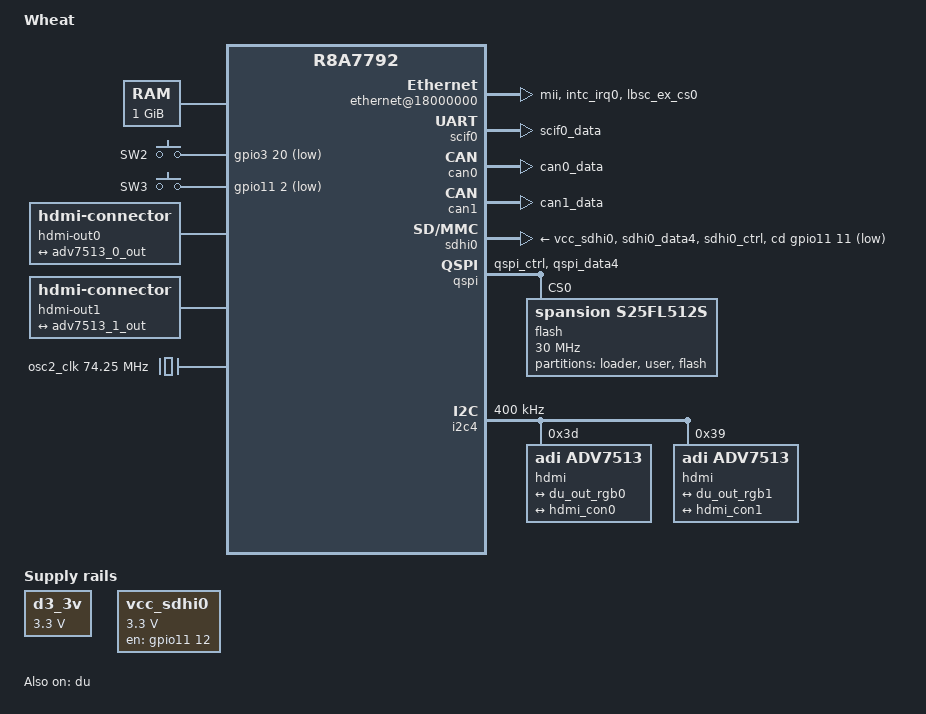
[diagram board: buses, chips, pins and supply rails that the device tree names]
/*
 * Device Tree Source for the Wheat board
 *
 * Copyright (C) 2016 Renesas Electronics Corporation
 * Copyright (C) 2016 Cogent  Embedded, Inc.
 *
 * This file is licensed under the terms of the GNU General Public License
 * version 2.  This program is licensed "as is" without any warranty of any
 * kind, whether express or implied.
 */

/dts-v1/;
#include "r8a7792.dtsi"
#include <dt-bindings/gpio/gpio.h>
#include <dt-bindings/input/input.h>

/ {
	model = "Wheat";
	compatible = "renesas,wheat", "renesas,r8a7792";

	aliases {
		serial0 = &scif0;
	};

	chosen {
		bootargs = "ignore_loglevel rw root=/dev/nfs ip=dhcp";
		stdout-path = "serial0:115200n8";
	};

	memory@40000000 {
		device_type = "memory";
		reg = <0 0x40000000 0 0x40000000>;
	};

	d3_3v: regulator-3v3 {
		compatible = "regulator-fixed";
		regulator-name = "D3.3V";
		regulator-min-microvolt = <3300000>;
		regulator-max-microvolt = <3300000>;
		regulator-boot-on;
		regulator-always-on;
	};

	ethernet@18000000 {
		compatible = "smsc,lan89218", "smsc,lan9115";
		reg = <0 0x18000000 0 0x100>;
		phy-mode = "mii";
		interrupt-parent = <&irqc>;
		interrupts = <0 IRQ_TYPE_EDGE_FALLING>;
		smsc,irq-push-pull;
		smsc,save-mac-address;
		reg-io-width = <4>;
		vddvario-supply = <&d3_3v>;
		vdd33a-supply = <&d3_3v>;

		pinctrl-0 = <&lan89218_pins>;
		pinctrl-names = "default";
	};

	keyboard {
		compatible = "gpio-keys";

		key-a {
			linux,code = <KEY_A>;
			label = "SW2";
			wakeup-source;
			debounce-interval = <20>;
			gpios = <&gpio3 20 GPIO_ACTIVE_LOW>;
		};
		key-b {
			linux,code = <KEY_B>;
			label = "SW3";
			wakeup-source;
			debounce-interval = <20>;
			gpios = <&gpio11 2 GPIO_ACTIVE_LOW>;
		};
	};

	vcc_sdhi0: regulator-vcc-sdhi0 {
		compatible = "regulator-fixed";

		regulator-name = "SDHI0 Vcc";
		regulator-min-microvolt = <3300000>;
		regulator-max-microvolt = <3300000>;

		gpio = <&gpio11 12 GPIO_ACTIVE_HIGH>;
		enable-active-high;
	};

	hdmi-out0 {
		compatible = "hdmi-connector";
		type = "a";

		port {
			hdmi_con0: endpoint {
				remote-endpoint = <&adv7513_0_out>;
			};
		};
	};

	hdmi-out1 {
		compatible = "hdmi-connector";
		type = "a";

		port {
			hdmi_con1: endpoint {
				remote-endpoint = <&adv7513_1_out>;
			};
		};
	};

	osc2_clk: osc2 {
		compatible = "fixed-clock";
		#clock-cells = <0>;
		clock-frequency = <74250000>;
	};
};

&extal_clk {
	clock-frequency = <20000000>;
};

&pfc {
	scif0_pins: scif0 {
		groups = "scif0_data";
		function = "scif0";
	};

	lan89218_pins: lan89218 {
		intc {
			groups = "intc_irq0";
			function = "intc";
		};
		lbsc {
			groups = "lbsc_ex_cs0";
			function = "lbsc";
		};
	};

	can0_pins: can0 {
		groups = "can0_data";
		function = "can0";
	};

	can1_pins: can1 {
		groups = "can1_data";
		function = "can1";
	};

	sdhi0_pins: sdhi0 {
		groups = "sdhi0_data4", "sdhi0_ctrl";
		function = "sdhi0";
	};

	qspi_pins: qspi {
		groups = "qspi_ctrl", "qspi_data4";
		function = "qspi";
	};

	du0_pins: du0 {
		groups = "du0_rgb888", "du0_sync", "du0_disp";
		function = "du0";
	};

	du1_pins: du1 {
		groups = "du1_rgb666", "du1_sync", "du1_disp";
		function = "du1";
	};
};

&scif0 {
	pinctrl-0 = <&scif0_pins>;
	pinctrl-names = "default";

	status = "okay";
};

&can0 {
	pinctrl-0 = <&can0_pins>;
	pinctrl-names = "default";

	status = "okay";
};

&can1 {
	pinctrl-0 = <&can1_pins>;
	pinctrl-names = "default";

	status = "okay";
};

&sdhi0 {
	pinctrl-0 = <&sdhi0_pins>;
	pinctrl-names = "default";

	vmmc-supply = <&vcc_sdhi0>;
	cd-gpios = <&gpio11 11 GPIO_ACTIVE_LOW>;
	status = "okay";
};

&qspi {
	pinctrl-0 = <&qspi_pins>;
	pinctrl-names = "default";
	status = "okay";

	flash@0 {
		compatible = "spansion,s25fl512s", "jedec,spi-nor";
		reg = <0>;
		spi-max-frequency = <30000000>;
		spi-tx-bus-width = <4>;
		spi-rx-bus-width = <4>;
		spi-cpol;
		spi-cpha;
		m25p,fast-read;

		partitions {
			compatible = "fixed-partitions";
			#address-cells = <1>;
			#size-cells = <1>;

			partition@0 {
				label = "loader";
				reg = <0x00000000 0x00040000>;
				read-only;
			};
			partition@40000 {
				label = "user";
				reg = <0x00040000 0x00400000>;
				read-only;
			};
			partition@440000 {
				label = "flash";
				reg = <0x00440000 0x03bc0000>;
			};
		};
	};
};

&i2c4 {
	status = "okay";
	clock-frequency = <400000>;

	hdmi@3d {
		compatible = "adi,adv7513";
		reg = <0x3d>;

		adi,input-depth = <8>;
		adi,input-colorspace = "rgb";
		adi,input-clock = "1x";
		adi,input-style = <1>;
		adi,input-justification = "evenly";

		ports {
			#address-cells = <1>;
			#size-cells = <0>;

			port@0 {
				reg = <0>;
				adv7513_0_in: endpoint {
					remote-endpoint = <&du_out_rgb0>;
				};
			};

			port@1 {
				reg = <1>;
				adv7513_0_out: endpoint {
					remote-endpoint = <&hdmi_con0>;
				};
			};
		};
	};

	hdmi@39 {
		compatible = "adi,adv7513";
		reg = <0x39>;

		adi,input-depth = <8>;
		adi,input-colorspace = "rgb";
		adi,input-clock = "1x";
		adi,input-style = <1>;
		adi,input-justification = "evenly";

		ports {
			#address-cells = <1>;
			#size-cells = <0>;

			port@0 {
				reg = <0>;
				adv7513_1_in: endpoint {
					remote-endpoint = <&du_out_rgb1>;
				};
			};

			port@1 {
				reg = <1>;
				adv7513_1_out: endpoint {
					remote-endpoint = <&hdmi_con1>;
				};
			};
		};
	};
};

&du {
	pinctrl-0 = <&du0_pins &du1_pins>;
	pinctrl-names = "default";

	clocks = <&cpg CPG_MOD 724>, <&cpg CPG_MOD 723>, <&osc2_clk>;
	clock-names = "du.0", "du.1", "dclkin.0";
	status = "okay";

	ports {
		port@0 {
			endpoint {
				remote-endpoint = <&adv7513_0_in>;
			};
		};
		port@1 {
			endpoint {
				remote-endpoint = <&adv7513_1_in>;
			};
		};
	};
};
